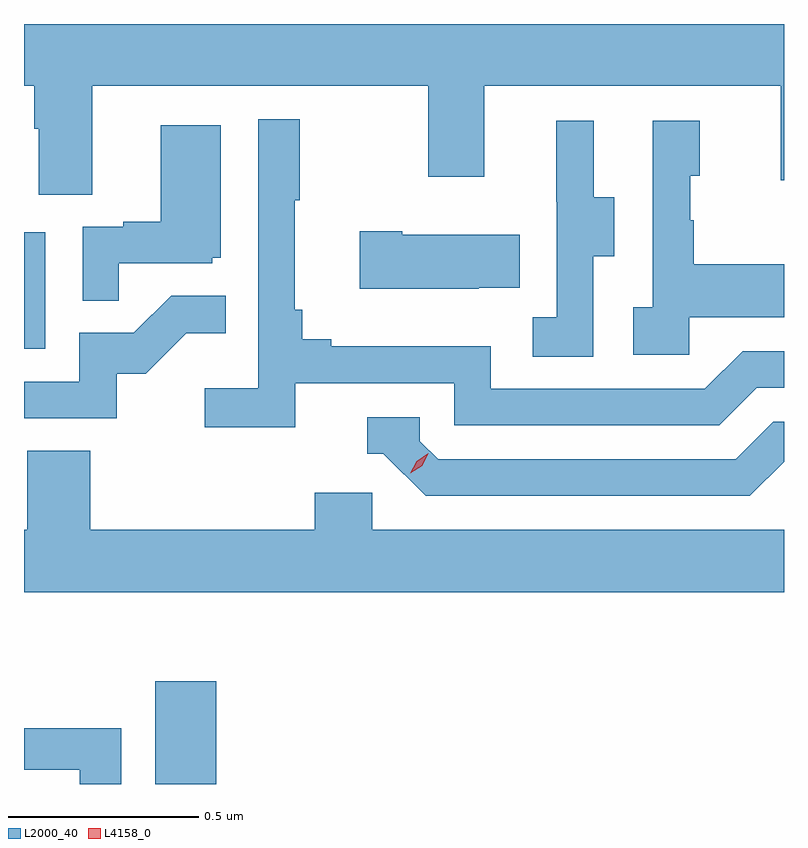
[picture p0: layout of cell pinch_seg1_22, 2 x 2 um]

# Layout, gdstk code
import gdstk
lib = gdstk.Library(unit=1e-6, precision=1e-09)
def R(c, l, rs):  # rectangles x0, y0, x1, y1
    for r in rs: c.add(gdstk.rectangle(r[:2], r[2:], *l))
def P(c, l, *ps):  # polygons
    for p in ps: c.add(gdstk.Polygon(p, *l))
L2000_40 = (2000, 40)
L4158_0 = (4158, 0)

pinch_seg1_22 = lib.new_cell('pinch_seg1_22')
R(pinch_seg1_22, L2000_40, [(1125.479,575.203,1125.64,575.473), (1125.134,576.348,1125.19,576.655)])
P(pinch_seg1_22, L2000_40, [(1125.313,577.04),(1126.198,577.04),(1126.198,576.801),(1126.345,576.801),(1126.345,577.04),(1127.126,577.04),(1127.126,576.792),(1127.134,576.792),(1127.134,577.203),(1125.134,577.203),(1125.134,577.04),(1125.161,577.04),(1125.161,576.928),(1125.173,576.928),(1125.173,576.754),(1125.313,576.754)],
  [(1125.848,576.258),(1126.266,576.258),(1126.266,576.147),(1126.963,576.147),(1127.062,576.246),(1127.134,576.246),(1127.134,576.342),(1127.025,576.342),(1126.926,576.243),(1126.362,576.243),(1126.362,576.355),(1125.943,576.355),(1125.943,576.374),(1125.866,576.374),(1125.866,576.451),(1125.847,576.451),(1125.847,576.739),(1125.859,576.739),(1125.859,576.952),(1125.75,576.952),(1125.75,576.244),(1125.609,576.244),(1125.609,576.142),(1125.848,576.142)],
  [(1126.884,576.431),(1127.134,576.431),(1127.134,576.571),(1126.897,576.571),(1126.897,576.686),(1126.887,576.686),(1126.887,576.804),(1126.912,576.804),(1126.912,576.949),(1126.788,576.949),(1126.788,576.458),(1126.737,576.458),(1126.737,576.333),(1126.884,576.333)],
  [(1126.632,576.592),(1126.687,576.592),(1126.687,576.747),(1126.633,576.747),(1126.633,576.949),(1126.535,576.949),(1126.535,576.735),(1126.536,576.735),(1126.536,576.431),(1126.473,576.431),(1126.473,576.328),(1126.632,576.328)],
  [(1125.383,576.573),(1125.63,576.573),(1125.63,576.588),(1125.652,576.588),(1125.652,576.937),(1125.494,576.937),(1125.494,576.682),(1125.395,576.682),(1125.395,576.669),(1125.288,576.669),(1125.288,576.475),(1125.383,576.475)],
  [(1126.331,576.509),(1126.439,576.509),(1126.439,576.649),(1126.129,576.649),(1126.129,576.657),(1126.017,576.657),(1126.017,576.506),(1126.331,576.506)],
  [(1125.378,576.282),(1125.454,576.282),(1125.561,576.389),(1125.665,576.389),(1125.665,576.488),(1125.521,576.488),(1125.423,576.39),(1125.279,576.39),(1125.279,576.261),(1125.134,576.261),(1125.134,576.165),(1125.378,576.165)],
  [(1127.134,576.051),(1127.134,576.156),(1127.106,576.156),(1127.007,576.057),(1126.224,576.057),(1126.176,576.105),(1126.176,576.168),(1126.037,576.168),(1126.037,576.072),(1126.08,576.072),(1126.191,575.961),(1127.044,575.961)],
  [(1127.134,575.872),(1126.05,575.872),(1126.05,575.97),(1125.899,575.97),(1125.899,575.872),(1125.308,575.872),(1125.308,576.08),(1125.143,576.08),(1125.143,575.872),(1125.134,575.872),(1125.134,575.708),(1127.134,575.708)],
  [(1125.39,575.35),(1125.134,575.35),(1125.134,575.24),(1125.281,575.24),(1125.281,575.203),(1125.39,575.203)])
P(pinch_seg1_22, L4158_0, [(1126.151,576.021),(1126.151,576.021),(1126.167,576.053),(1126.198,576.073),(1126.198,576.073),(1126.198,576.072),(1126.182,576.04),(1126.151,576.021)])

lib.write_gds('pinch_seg1_22.gds')
